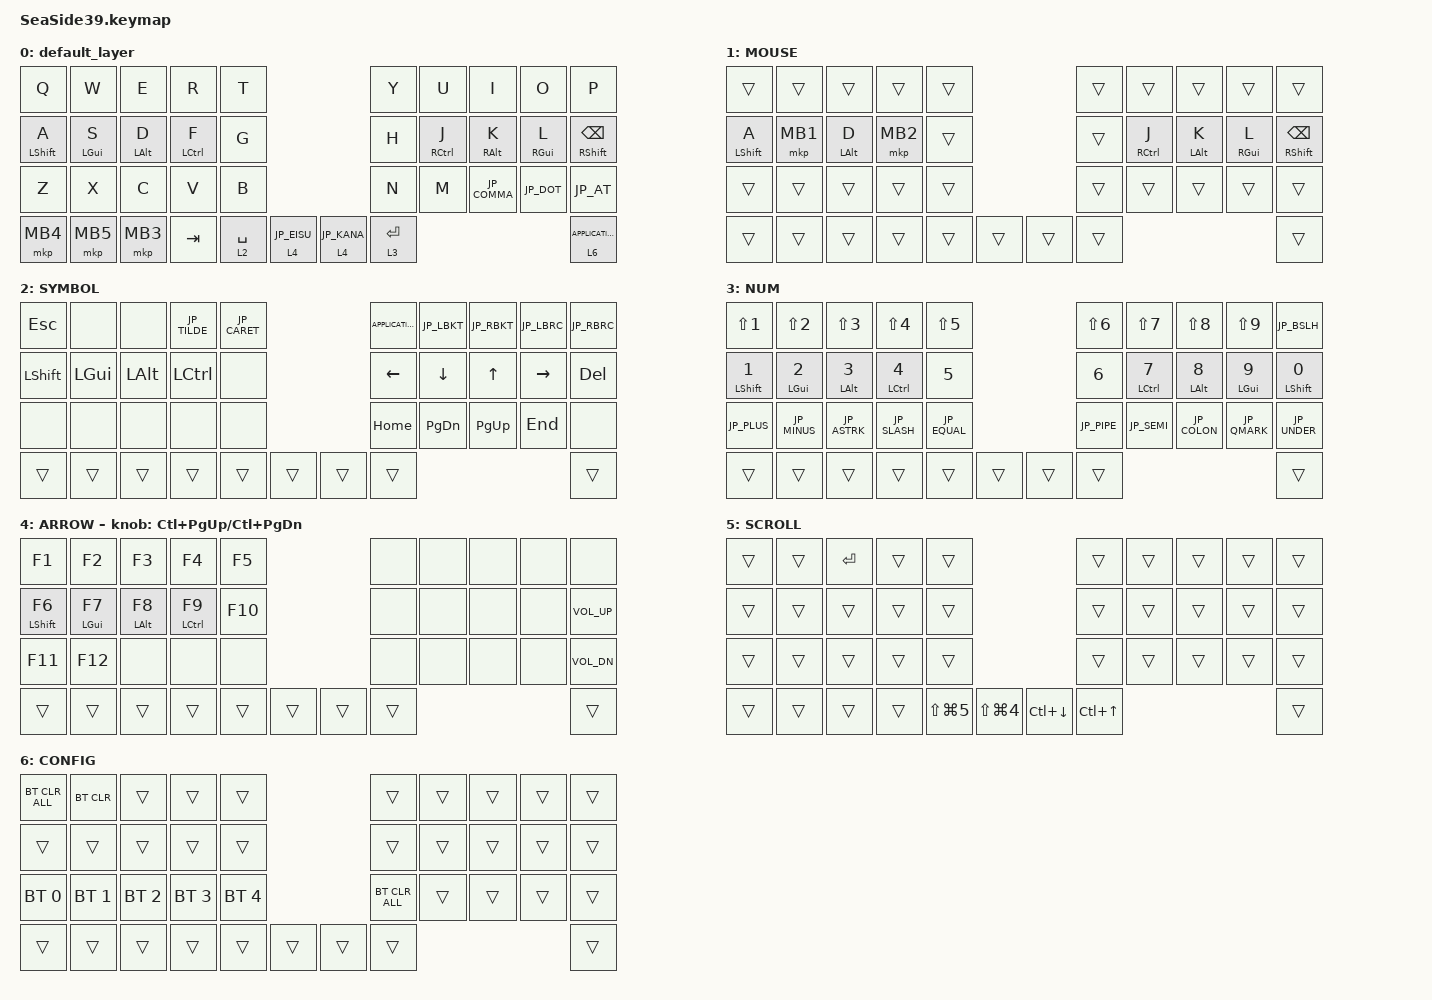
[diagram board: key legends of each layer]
#include "keycode_japanese.h"
#include <behaviors.dtsi>
#include <dt-bindings/zmk/bt.h>
#include <dt-bindings/zmk/keys.h>
#include <dt-bindings/zmk/pointing.h>

#define MOUSE 1
// #define SCROLL 2
// #define NUM 6

&mt {
    flavor = "balanced";
    quick-tap-ms = <180>;
};

/ {
    combos { compatible = "zmk,combos"; };

    macros {
        to_layer_0: to_layer_0 {
            compatible = "zmk,behavior-macro-one-param";
            #binding-cells = <1>;
            bindings = <&to 0 &macro_param_1to1 &kp MACRO_PLACEHOLDER>;
            label = "TO_LAYER_0";
        };

        // ２．AMLを解除するマクロexit_AMLを作る
        exit_AML: exit_AML {
            compatible = "zmk,behavior-macro";
            wait-ms = <0>;
            tap-ms = <0>;
            #binding-cells = <0>;
            bindings = <&tog_off MOUSE>;
            label = "exit_AML";
        };

        // ３．キー押下後にAMLを解除するマクロkp_exit_AMLを作る
        kp_exit_AML: kp_exit_AML {
            compatible = "zmk,behavior-macro-one-param";
            wait-ms = <0>;
            tap-ms = <0>;
            #binding-cells = <1>;
            bindings = <&macro_param_1to1 &kp MACRO_PLACEHOLDER &exit_AML>;
            label = "KP_exit_AML";
        };
    };

    behaviors {
        lt_to_layer_0: lt_to_layer_0 {
            compatible = "zmk,behavior-hold-tap";
            label = "LAYER_TAP_TO_0";
            bindings = <&mo>, <&to_layer_0>;

            #binding-cells = <2>;
            tapping-term-ms = <200>;
        };

        // Shift+クリックの動作改善
        // １．レイヤーを無効化するbehavior tog_off を定義する
        tog_off: toggle_layer_off {
            compatible = "zmk,behavior-toggle-layer";
            #binding-cells = <1>;
            display-name = "Toggle Layer Off";
            toggle-mode = "off";
        };

        // ４．ホールド時はkp、タップ時はkp_exit_AMLを使うhold-tap behavior mt_exit_AML_on_tapを定義する
        // ５．mt_exit_AML_on_tapをmtの代わりに使う
        mt_exit_AML_on_tap: mt_exit_AML_on_tap {
            compatible = "zmk,behavior-hold-tap";
            label = "MT_exit_AML_ON_TAP";
            bindings = <&kp>, <&kp_exit_AML>;

            #binding-cells = <2>;
            tapping-term-ms = <200>;
            flavor = "balanced";
            quick-tap-ms = <180>;
        };
    };

    keymap {
        compatible = "zmk,keymap";

        default_layer {
            bindings = <
&kp Q         &kp W       &kp E       &kp R        &kp T                                          &kp Y        &kp U        &kp I         &kp O       &kp P
&mt LSHIFT A  &mt LGUI S  &mt LALT D  &mt LCTRL F  &kp G                                          &kp H        &mt RCTRL J  &mt RALT K    &mt RGUI L  &mt RSHIFT BACKSPACE
&kp Z         &kp X       &kp C       &kp V        &kp B                                          &kp N        &kp M        &kp JP_COMMA  &kp JP_DOT  &kp JP_AT
&mkp MB4      &mkp MB5    &mkp MB3    &kp TAB      &lt 2 SPACE  &lt 4 JP_EISU        &lt 4 JP_KANA  &lt 3 ENTER                                         &lt 6 K_APPLICATION
            >;
        };

        MOUSE {
            bindings = <
&trans                        &trans    &trans                      &trans    &trans                      &trans  &trans                       &trans                        &trans                     &trans
&mt_exit_AML_on_tap LSHIFT A  &mkp MB1  &mt_exit_AML_on_tap LALT D  &mkp MB2  &trans                      &trans  &mt_exit_AML_on_tap RCTRL J  &mt_exit_AML_on_tap LALT K    &mt_exit_AML_on_tap RGUI L &mt_exit_AML_on_tap RSHIFT BACKSPACE
&trans                        &trans    &trans                      &trans    &trans                      &trans  &trans                       &trans                        &trans                     &trans
&trans                        &trans    &trans                      &trans    &trans  &trans      &trans  &trans                                                             &trans
            >;
        };

        SYMBOL {
            bindings = <
&kp ESCAPE  &none     &none     &kp JP_TILDE  &kp JP_CARET                      &kp K_APPLICATION  &kp JP_LBKT  &kp JP_RBKT  &kp JP_LBRC  &kp JP_RBRC
&kp LSHIFT  &kp LGUI  &kp LALT  &kp LCTRL     &none                             &kp LEFT           &kp DOWN     &kp UP       &kp RIGHT    &kp DEL
&none       &none     &none     &none         &none                             &kp HOME           &kp PG_DN    &kp PG_UP    &kp END      &none
&trans      &trans    &trans    &trans        &trans        &trans      &trans  &trans                                                    &trans
            >;
        };

        NUM {
            bindings = <
&kp LS(N1)     &kp LS(N2)    &kp LS(N3)    &kp LS(N4)    &kp LS(N5)                        &kp LS(N6)   &kp LS(N7)    &kp LS(N8)    &kp LS(N9)    &kp JP_BSLH
&mt LSHIFT N1  &mt LGUI N2   &mt LALT N3   &mt LCTRL N4  &kp N5                            &kp N6       &mt LCTRL N7  &mt LALT N8   &mt LGUI N9   &mt LSHIFT N0
&kp JP_PLUS    &kp JP_MINUS  &kp JP_ASTRK  &kp JP_SLASH  &kp JP_EQUAL                      &kp JP_PIPE  &kp JP_SEMI   &kp JP_COLON  &kp JP_QMARK  &kp JP_UNDER
&trans         &trans        &trans        &trans        &trans        &trans      &trans  &trans                                                 &trans
            >;
        };

        ARROW {
            bindings = <
&kp F1         &kp F2       &kp F3       &kp F4        &kp F5                       &none   &none  &none  &none  &none
&mt LSHIFT F6  &mt LGUI F7  &mt LALT F8  &mt LCTRL F9  &kp F10                      &none   &none  &none  &none  &kp C_VOL_UP
&kp F11        &kp F12      &none        &none         &none                        &none   &none  &none  &none  &kp C_VOL_DN
&trans         &trans       &trans       &trans        &trans   &trans      &trans  &trans                       &trans
            >;

            sensor-bindings = <&inc_dec_kp LC(PAGE_UP) LC(PAGE_DOWN)>;
        };

        SCROLL {
            bindings = <
&trans  &trans  &kp ENTER  &trans  &trans                                            &trans            &trans  &trans  &trans  &trans
&trans  &trans  &trans     &trans  &trans                                            &trans            &trans  &trans  &trans  &trans
&trans  &trans  &trans     &trans  &trans                                            &trans            &trans  &trans  &trans  &trans
&trans  &trans  &trans     &trans  &kp LS(LG(N5))  &kp LS(LG(N4))      &kp LC(DOWN)  &kp LC(UP_ARROW)                          &trans
            >;
        };

        CONFIG {
            bindings = <
&bt BT_CLR_ALL  &bt BT_CLR    &trans        &trans        &trans                            &trans          &trans  &trans  &trans  &trans
&trans          &trans        &trans        &trans        &trans                            &trans          &trans  &trans  &trans  &trans
&bt BT_SEL 0    &bt BT_SEL 1  &bt BT_SEL 2  &bt BT_SEL 3  &bt BT_SEL 4                      &bt BT_CLR_ALL  &trans  &trans  &trans  &trans
&trans          &trans        &trans        &trans        &trans        &trans      &trans  &trans                                  &trans
            >;
        };
    };
};
